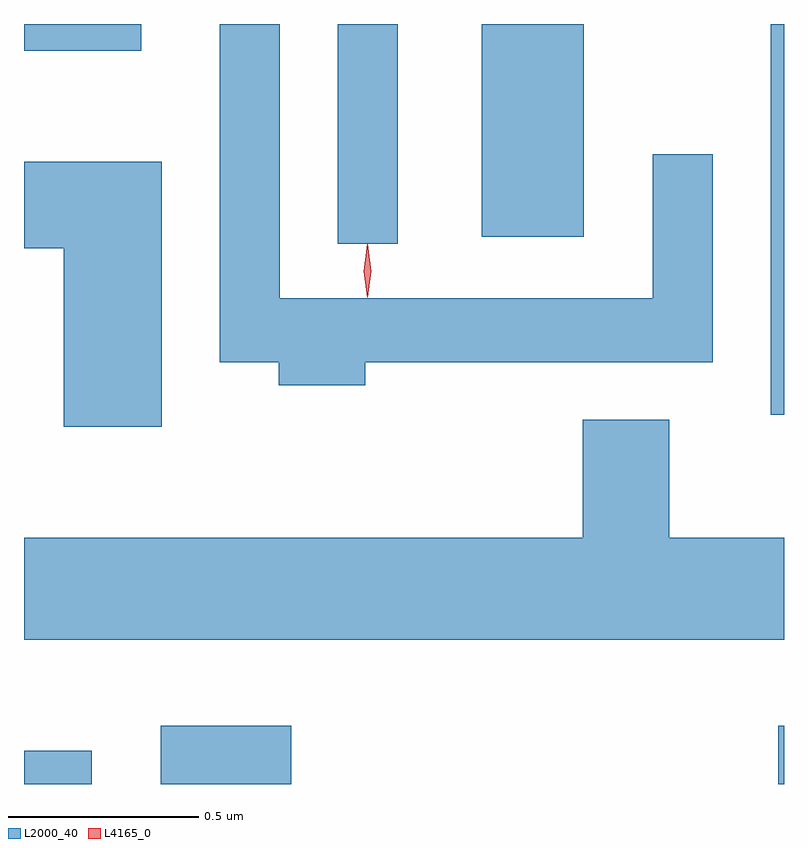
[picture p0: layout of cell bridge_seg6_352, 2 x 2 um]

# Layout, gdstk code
import gdstk
lib = gdstk.Library(unit=1e-6, precision=1e-09)
def R(c, l, rs):  # rectangles x0, y0, x1, y1
    for r in rs: c.add(gdstk.rectangle(r[:2], r[2:], *l))
def P(c, l, *ps):  # polygons
    for p in ps: c.add(gdstk.Polygon(p, *l))
L2000_40 = (2000, 40)
L4165_0 = (4165, 0)

bridge_seg6_352 = lib.new_cell('bridge_seg6_352')
R(bridge_seg6_352, L2000_40, [(1278.541,1551.876,1278.719,1551.964), (1278.901,1551.876,1279.244,1552.029), (1280.526,1551.876,1280.541,1552.029), (1280.506,1552.848,1280.541,1553.876), (1279.366,1553.298,1279.524,1553.876), (1279.746,1553.316,1280.014,1553.876), (1278.541,1553.806,1278.849,1553.876)])
P(bridge_seg6_352, L2000_40, [(1279.439,1552.986),(1280.354,1552.986),(1280.354,1553.533),(1280.196,1553.533),(1280.196,1553.154),(1279.214,1553.154),(1279.214,1553.876),(1279.056,1553.876),(1279.056,1552.986),(1279.211,1552.986),(1279.211,1552.926),(1279.439,1552.926)],
  [(1278.904,1553.514),(1278.541,1553.514),(1278.541,1553.286),(1278.646,1553.286),(1278.646,1552.816),(1278.904,1552.816)],
  [(1280.541,1552.524),(1280.239,1552.524),(1280.239,1552.834),(1280.011,1552.834),(1280.011,1552.524),(1278.541,1552.524),(1278.541,1552.256),(1280.541,1552.256)])
P(bridge_seg6_352, L4165_0, [(1279.445,1553.159),(1279.444,1553.16),(1279.435,1553.226),(1279.444,1553.292),(1279.445,1553.293),(1279.445,1553.292),(1279.455,1553.226),(1279.445,1553.16)],
  [(1279.444,1553.157),(1279.435,1553.226),(1279.444,1553.296),(1279.445,1553.296),(1279.446,1553.296),(1279.455,1553.226),(1279.446,1553.157),(1279.445,1553.157)])

lib.write_gds('bridge_seg6_352.gds')
